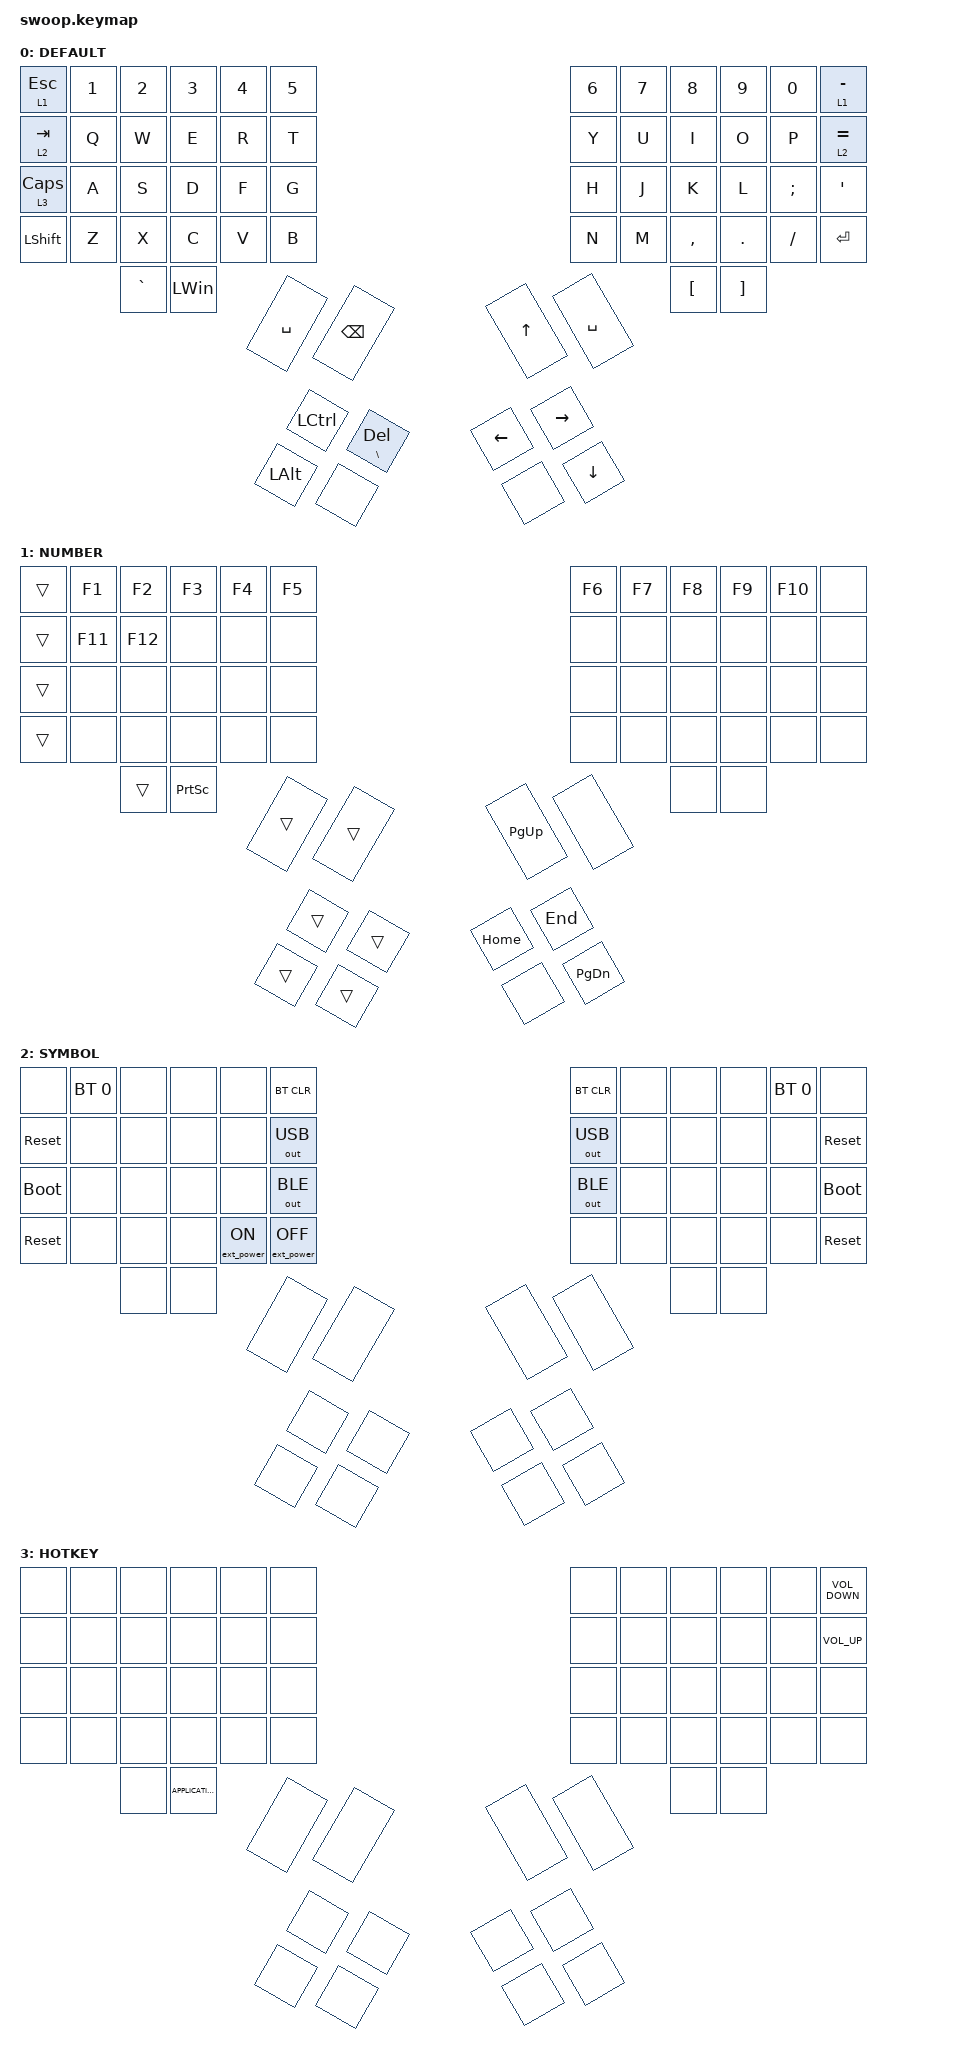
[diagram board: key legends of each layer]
#include <behaviors.dtsi>
#include <dt-bindings/zmk/bt.h>
#include <dt-bindings/zmk/ext_power.h>
#include <dt-bindings/zmk/keys.h>
#include <dt-bindings/zmk/outputs.h>

#define DEFAULT 0
#define NUMBER  1
#define SYMBOL  2
#define HOTKEY  3

#define AS(keycode) &as LS(keycode) keycode

&lt {
    quick-tap-ms = <180>;
    flavor = "tap-preferred";
};

/ {
    behaviors {
        td0: tap_dance_0 {
            compatible = "zmk,behavior-tap-dance";
            label = "TAP_DANCE_0";
            #binding-cells = <0>;
            tapping-term-ms = <200>;
            bindings = <&kp ESC>, <&kp TAB>;
        };
    };

    behaviors {
        as: auto_shift {
            compatible = "zmk,behavior-hold-tap";
            label = "AUTO_SHIFT";
            #binding-cells = <2>;
            tapping-term-ms = <200>;
            quick-tap-ms = <0>;
            flavor = "tap-preferred";
            bindings = <&kp>, <&kp>;
        };

        modcp: mod_copy {
            compatible = "zmk,behavior-mod-morph";
            label = "MOD_COPY";
            #binding-cells = <0>;
            bindings = <&as LS(C) C>, <&kp C>;

            mods = <(LGUI | RGUI)>;
        };
    };

    macros {
        macro_phone: macro_phone {
            // 1351

            label = "MACRO_PHONE";
            compatible = "zmk,behavior-macro";
            #binding-cells = <0>;
            bindings = <&kp N1 &kp N3 &kp N5 &kp N1>;
        };

    };



    keymap {
        compatible = "zmk,keymap";

        default_layer {
            label = "DEFAULT";
            bindings = <
&lt 1 ESC  &kp N1  &kp N2     &kp N3     &kp N4     &kp N5            &kp N6    &kp N7     &kp N8     &kp N9    &kp N0    &lt 1 MINUS
&lt 2 TAB  &kp Q   &kp W      &kp E      &kp R      &kp T             &kp Y     &kp U      &kp I      &kp O     &kp P     &lt 2 EQUAL
&lt 3 CAPS  &kp A   &kp S      &kp D      &kp F      &kp G             &kp H     &kp J      &kp K      &kp L     &kp SEMI  &kp SQT
&kp LEFT_SHIFT   &kp Z   &kp X      &kp C      &kp V      &kp B             &kp N     &kp M      &kp COMMA  &kp DOT   &kp FSLH  &kp ENTER
                  &kp GRAVE     &kp LEFT_WIN  &kp SPACE         &kp BSPC         &kp UP    &kp SPACE  &kp LBKT   &kp RBKT
                  &kp LEFT_ALT  &none         &kp LEFT_CONTROL  &mt BACKSLASH DEL  &kp LEFT  &kp RIGHT  &none      &kp DOWN_ARROW
            >;
        };

        number_layer {
            label = "NUMBER";
            bindings = <
&trans  &kp F1   &kp F2   &kp F3           &kp F4  &kp F5          &kp F6       &kp F7   &kp F8  &kp F9         &kp F10       &none
&trans  &kp F11  &kp F12  &none   &none   &none           &none        &none    &none   &none          &none  &none
&trans  &none    &none    &none            &none   &none  &none        &none    &none   &none          &none         &none
&trans  &none    &none    &none            &none   &none           &none        &none    &none   &none          &none         &none
                 &trans   &kp PRINTSCREEN  &trans  &trans          &kp PAGE_UP  &none    &none   &none
                 &trans   &trans           &trans  &trans          &kp HOME     &kp END  &none   &kp PAGE_DOWN
            >;
        };

        symbol_layer {
            label = "SYMBOL";
            bindings = <
&none        &bt BT_SEL 0  &none  &none  &none             &bt BT_CLR         &bt BT_CLR    &none  &none  &none  &bt BT_SEL 0  &none
&sys_reset   &none         &none  &none  &none             &out OUT_USB       &out OUT_USB  &none  &none  &none  &none         &sys_reset
&bootloader  &none         &none  &none  &none             &out OUT_BLE       &out OUT_BLE  &none  &none  &none  &none         &bootloader
&sys_reset   &none         &none  &none  &ext_power EP_ON  &ext_power EP_OFF  &none         &none  &none  &none  &none         &sys_reset
                           &none  &none  &none             &none              &none         &none  &none  &none
                           &none  &none  &none             &none              &none         &none  &none  &none
            >;
        };

        hotkey_layer {
            label = "HOTKEY";
            bindings = <
&none  &none  &none  &none              &none  &none  &none  &none  &none  &none  &none  &kp C_VOLUME_DOWN
&none  &none  &none  &none              &none  &none  &none  &none  &none  &none  &none  &kp C_VOLUME_UP
&none  &none  &none  &none              &none  &none  &none  &none  &none  &none  &none  &none
&none  &none  &none  &none              &none  &none  &none  &none  &none  &none  &none  &none
              &none  &kp K_APPLICATION  &none  &none  &none  &none  &none  &none
              &none  &none              &none  &none  &none  &none  &none  &none
            >;
        };
    };
};
